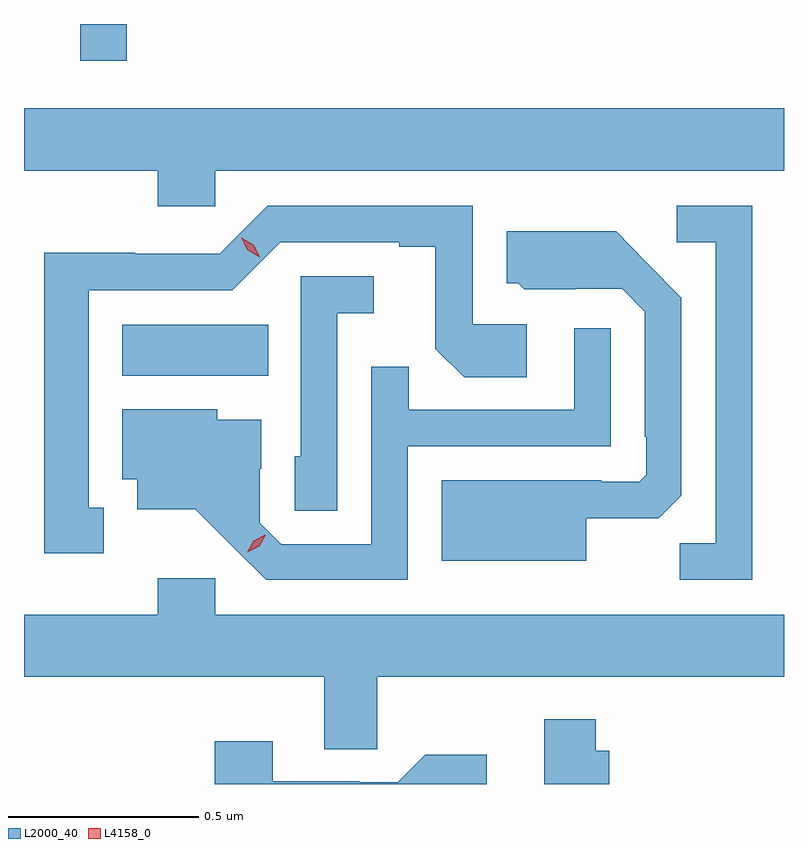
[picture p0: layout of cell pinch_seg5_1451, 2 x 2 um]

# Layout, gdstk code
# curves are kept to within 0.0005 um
import gdstk
lib = gdstk.Library(unit=1e-6, precision=1e-09)
def R(c, l, rs):  # rectangles x0, y0, x1, y1
    for r in rs: c.add(gdstk.rectangle(r[:2], r[2:], *l))
def P(c, l, *ps):  # polygons
    for p in ps: c.add(gdstk.Polygon(p, *l))
L2000_40 = (2000, 40)
L4158_0 = (4158, 0)

pinch_seg5_1451 = lib.new_cell('pinch_seg5_1451')
R(pinch_seg5_1451, L2000_40, [(161.57,904.172,161.954,904.306), (161.459,905.001,161.581,905.098)])
P(pinch_seg5_1451, L2000_40, [(161.814,904.712),(163.311,904.712),(163.311,904.876),(161.311,904.876),(161.311,904.712),(161.663,904.712),(161.663,904.619),(161.814,904.619)],
  [(163.227,904.62),(163.029,904.62),(163.029,904.524),(163.131,904.524),(163.131,903.731),(163.036,903.731),(163.036,903.636),(163.227,903.636)],
  [(161.521,903.825),(161.482,903.825),(161.482,904.398),(161.859,904.398),(161.985,904.524),(162.299,904.524),(162.299,904.512),(162.393,904.512),(162.393,904.244),(162.469,904.168),(162.634,904.168),(162.634,904.308),(162.492,904.308),(162.492,904.62),(161.952,904.62),(161.826,904.494),(161.604,904.494),(161.604,904.496),(161.364,904.496),(161.364,903.705),(161.521,903.705)],
  [(162.79,903.797),(162.982,903.797),(163.041,903.856),(163.041,904.378),(162.869,904.552),(162.581,904.552),(162.581,904.416),(162.612,904.416),(162.628,904.4),(162.762,904.4),(162.762,904.401),(162.885,904.401),(162.945,904.341),(162.945,904.012),(162.948,904.012),(162.948,903.912),(162.93,903.894),(162.83,903.894),(162.83,903.898),(162.41,903.898),(162.41,903.686),(162.79,903.686)],
  [(162.135,904.337),(162.232,904.337),(162.232,904.434),(162.039,904.434),(162.039,903.96),(162.024,903.96),(162.024,903.817),(162.135,903.817)],
  [(162.321,903.987),(162.855,903.987),(162.855,904.297),(162.759,904.297),(162.759,904.083),(162.323,904.083),(162.323,904.196),(162.225,904.196),(162.225,903.729),(161.988,903.729),(161.931,903.786),(161.931,903.928),(161.935,903.928),(161.935,904.057),(161.82,904.057),(161.82,904.084),(161.57,904.084),(161.57,903.9),(161.609,903.9),(161.609,903.821),(161.761,903.821),(161.948,903.636),(162.321,903.636)],
  [(162.24,903.38),(163.311,903.38),(163.311,903.544),(161.814,903.544),(161.814,903.64),(161.663,903.64),(161.663,903.544),(161.311,903.544),(161.311,903.38),(162.101,903.38),(162.101,903.19),(162.24,903.19)],
  [(162.851,903.186),(162.816,903.186),(162.816,903.268),(162.68,903.268),(162.68,903.098),(162.851,903.098)],
  [(162.529,903.175),(162.367,903.175),(162.294,903.102),(162.194,903.102),(162.194,903.105),(161.965,903.105),(161.965,903.211),(161.813,903.211),(161.813,903.098),(162.529,903.098)])
P(pinch_seg5_1451, L4158_0, [(161.899,903.708),(161.899,903.708),(161.916,903.738),(161.946,903.754),(161.947,903.754),(161.947,903.754),(161.93,903.724),(161.899,903.708)],
  [(161.932,904.484),(161.9,904.503),(161.883,904.536),(161.883,904.536),(161.883,904.536),(161.915,904.517),(161.932,904.485),(161.932,904.484)])

lib.write_gds('pinch_seg5_1451.gds')
